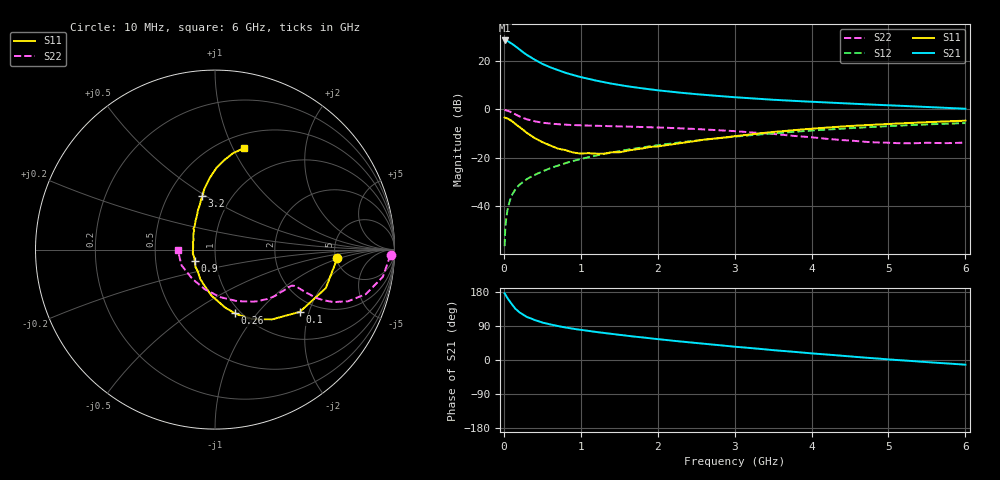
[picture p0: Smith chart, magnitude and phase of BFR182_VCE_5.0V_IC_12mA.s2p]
! Infineon Technologies  Discrete & RF Semiconductors
! BFR182
! VCE =  5.0 V,  IC =  12 mA
! Common Emitter S-Parameters:  Nov 2015
# GHz  S  MA  R  50
!  f  S11  S21  S12  S22
! GHz  MAG  ANG  MAG  ANG  MAG  ANG  MAG  ANG
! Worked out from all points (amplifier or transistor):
!   210 points, 10 MHz to 6 GHz, reference 50 ohm
!   highest |S21| = 28.5 dB at 10 MHz (marker M1)
!   |S21| within 3 dB of that: start of sweep to 174.7 MHz
!   unconditionally stable (mu >= 1): 764 MHz to 2.645 GHz
!   at 185 MHz: K = 0.55, MSG = 28.5 dB, |S12| = -31.7 dB
!   at 1.52 GHz: K = 1.05, MAG = 12.3 dB, |S12| = -17.1 dB
!   at 6 GHz: K = 0.89, MSG = 3.0 dB, |S12| = -5.6 dB
!   S11 on the Smith chart (normalised r, x): 10 MHz: 5.14, -0.87; 100 MHz: 1.65, -1.74; 260 MHz: 0.94, -0.77; 900 MHz: 0.79, -0.10; 3.2 GHz: 0.73, +0.48; 6 GHz: 0.64, +1.11
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0.01  0.6822 -3.8  26.7 176.0  0.0015 92.9  0.9783 -1.7
0.02  0.6715 -7.7  26.47 172.4  0.0037 84.4  0.968 -3.8
0.05  0.6536 -19.2  25.89 162.5  0.0088 80.8  0.9474 -9.2
0.1  0.5862 -36.3  23.21 147.9  0.0164 74.3  0.8755 -16.5
0.15  0.5023 -50.7  20.29 135.1  0.0223 69.3  0.794 -21.3
0.2  0.4387 -61.8  17.59 126.2  0.0275 69.3  0.7236 -23.8
0.24  0.3924 -69.1  15.68 120.7  0.0311 67.5  0.6805 -24.7
0.26  0.3706 -72.8  14.85 118.1  0.0329 67.3  0.6612 -25.1
0.3  0.3283 -80.0  13.38 113.4  0.0365 68.1  0.6272 -25.5
0.4  0.2575 -94.3  10.7 105.4  0.0444 68.3  0.5695 -25.3
0.5  0.2118 -105.5  8.769 98.9  0.0523 69.4  0.5334 -24.9
0.6  0.1826 -116.9  7.477 94.0  0.0609 69.5  0.5123 -24.6
0.7  0.1558 -127.6  6.512 89.6  0.0692 69.7  0.4969 -24.6
0.9  0.1295 -149.9  5.14 82.4  0.0865 69.8  0.4771 -24.9
1.02  0.1235 -163.3  4.596 79.0  0.0963 69.8  0.4694 -25.6
1.4  0.1306 160.8  3.417 68.9  0.1292 68.3  0.4526 -29.1
2.02  0.1742 130.5  2.473 54.7  0.1844 63.8  0.4253 -36.9
3.1  0.2927 105.0  1.749 33.5  0.2839 53.6  0.3473 -56.4
3.2  0.3051 103.5  1.707 31.7  0.2931 52.5  0.3377 -58.8
4.1  0.4121 92.9  1.418 16.0  0.3759 42.7  0.2567 -87.0
5.1  0.5118 82.9  1.205 0.2  0.462 30.5  0.2024 -133.5
6  0.5888 73.9  1.037 -12.4  0.5232 18.3  0.2076 -179.3
